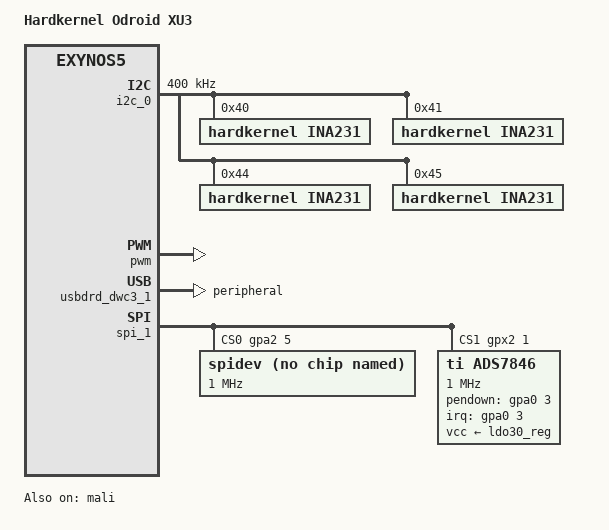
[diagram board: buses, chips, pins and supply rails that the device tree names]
/*
 * Hardkernel Odroid XU3 board device tree source
 *
 * Copyright (c) 2014 Collabora Ltd.
 * Copyright (c) 2013 Samsung Electronics Co., Ltd.
 *		http://www.samsung.com
 *
 * This program is free software; you can redistribute it and/or modify
 * it under the terms of the GNU General Public License version 2 as
 * published by the Free Software Foundation.
*/

/dts-v1/;
#include "exynos5422-odroidxu3-common.dtsi"
#include "exynos5422-odroidxu3-audio.dtsi"
#include "exynos54xx-odroidxu-leds.dtsi"

/ {
	model = "Hardkernel Odroid XU3";
	compatible = "hardkernel,odroid-xu3", "samsung,exynos5800", "samsung,exynos5";
};

/*
	i2c0 INA231 Sensors

	- drivers/hardkernel/ina231.h

	 config         = INA231_CONFIG(VSH_CT(eVSH_CT_8244uS)     | \
	                                VBUS_CT(eVBUS_CT_8244uS)   | \
	                                AVG_BIT(eAVG_16)           | \
	                                eSHUNT_BUS_VOLT_CONTINUOUS),
	update_period  = CONVERSION_DELAY(eVSH_CON_8244uS, eVBUS_CON_8244uS, eAVG_CON_16),
*/

&i2c_0 {
	status = "okay";
	clock-frequency = <400000>;
	ina231@40  {
		compatible = "hardkernel,INA231";
		reg = <0x40>;
		sensor-name = "sensor_arm";
		enable = <0>;
		max_A = <9>;
		shunt_R_mohm = <10>;
		config = <0x45FF>;
		update_period = <263808>;
	};
	ina231@41  {
		compatible = "hardkernel,INA231";
		reg = <0x41>;
		sensor-name = "sensor_mem";
		enable = <0>;
		max_A = <3>;
		shunt_R_mohm = <10>;
		config = <0x45FF>;
		update_period = <263808>;
	};
	ina231@44  {
		compatible = "hardkernel,INA231";
		reg = <0x44>;
		sensor-name = "sensor_g3d";
		enable = <0>;
		max_A = <5>;
		shunt_R_mohm = <10>;
		config = <0x45FF>;
		update_period = <263808>;
	};
	ina231@45  {
		compatible = "hardkernel,INA231";
		reg = <0x45>;
		sensor-name = "sensor_kfc";
		enable = <0>;
		max_A = <2>;
		shunt_R_mohm = <10>;
		config = <0x45FF>;
		update_period = <263808>;
	};
};

&pwm {
	/*
	 * PWM 0 -- fan
	 * PWM 1 -- Green LED
	 * PWM 2 -- Blue LED
	 * PWM 3 -- on MIPI connector for backlight
	 */
	pinctrl-0 = <&pwm0_out &pwm1_out &pwm2_out &pwm3_out>;
	pinctrl-names = "default";
	status = "okay";
};

&usbdrd_dwc3_1 {
	dr_mode = "peripheral";
};

&spi_1 {
	status = "okay";

	assigned-clocks = <&clock CLK_MOUT_SPI1>, <&clock CLK_DOUT_SPI1>;
	assigned-clock-parents = <&clock CLK_MOUT_DPLL>;
	assigned-clock-rates = <0>, <80000000>;

	samsung,spi-src-clk = <0>;
	num-cs = <2>;
	cs-gpios = <&gpa2 5 GPIO_ACTIVE_HIGH>, <&gpx2 1 GPIO_ACTIVE_HIGH>;

	spidev: spidev@0 {
		reg = <0>;
		compatible = "spidev";
		spi-max-frequency = <1000000>;

		controller-data {
			cs-gpio = <&gpa2 5 GPIO_ACTIVE_HIGH>;
			samsung,spi-feedback-delay = <0>;
		};
	};

	ads7846: ads7846@1 {
		reg = <1>;
		compatible = "ti,ads7846";
		interrupt-parent = <&gpa0>;
		interrupts = <3 3>;
		spi-max-frequency = <1000000>;
		pendown-gpio = <&gpa0 3 GPIO_ACTIVE_HIGH>;
		vcc-supply = <&ldo30_reg>;

		ti,swap-xy = <1>;
		ti,x-min = /bits/ 16 <0>;
		ti,x-max = /bits/ 16 <8000>;
		ti,y-min = /bits/ 16 <0>;
		ti,y-max = /bits/ 16 <4800>;
		ti,x-plate-ohms = /bits/ 16 <40>;
		ti,pressure-max = /bits/ 16 <255>;

		linux,wakeup;

		controller-data {
			cs-gpio = <&gpx2 1 GPIO_ACTIVE_HIGH>;
			samsung,spi-feedback-delay = <0>;
		};
	};
};

&mali {
	status = "okay";
	mali-freq = <600000000>;
	mali-volts = <1150000>;
};
